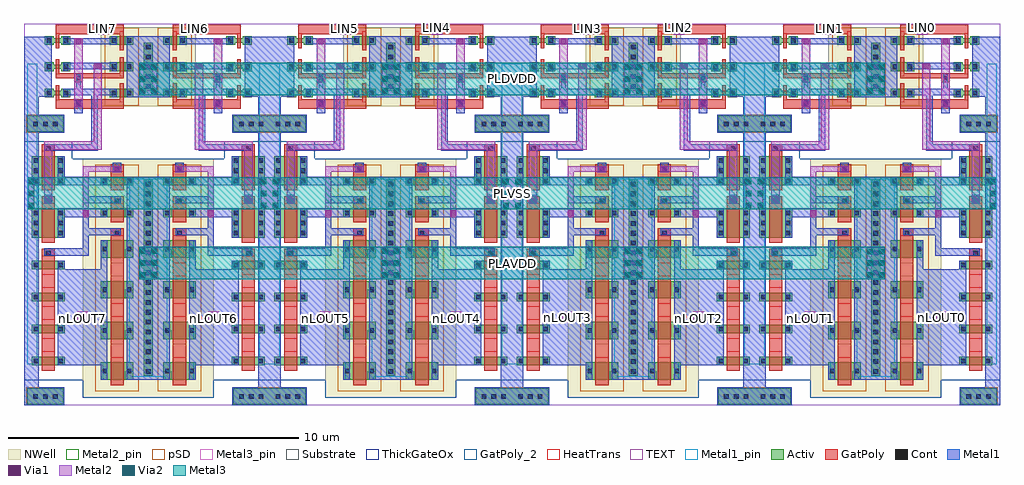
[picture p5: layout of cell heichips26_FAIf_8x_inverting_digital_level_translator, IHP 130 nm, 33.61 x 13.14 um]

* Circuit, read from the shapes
.subckt heichips26_FAIf_8x_inverting_digital_level_translator LIN0 LIN1 LIN2 LIN3 LIN4 LIN5 LIN6 LIN7 PLAVDD PLDVDD PLVSS nLOUT0 nLOUT1 nLOUT2 nLOUT3 nLOUT4 nLOUT5 nLOUT6 nLOUT7
XM1 nLOUT7 n1 PLVSS PLVSS sg13_hv_nmos w=0.3u l=0.45u m=4
XM2 n1 n2 PLVSS PLVSS sg13_hv_nmos w=1u l=0.45u
XM3 n3 n4 PLVSS PLVSS sg13_hv_nmos w=1u l=0.45u
XM4 n4 n5 PLVSS PLVSS sg13_lv_nmos w=0.15u l=0.13u
XM5 n2 n4 PLVSS PLVSS sg13_lv_nmos w=0.15u l=0.13u
XM6 n5 LIN7 PLVSS PLVSS sg13_lv_nmos w=0.15u l=0.13u
XM7 PLVSS n6 n7 PLVSS sg13_lv_nmos w=0.15u l=0.13u
XM8 PLVSS n7 n8 PLVSS sg13_lv_nmos w=0.15u l=0.13u
XM9 PLVSS LIN6 n6 PLVSS sg13_lv_nmos w=0.15u l=0.13u
XM10 PLVSS n9 nLOUT6 PLVSS sg13_hv_nmos w=0.3u l=0.45u m=4
XM11 PLVSS n8 n9 PLVSS sg13_hv_nmos w=1u l=0.45u
XM12 PLVSS n7 n10 PLVSS sg13_hv_nmos w=1u l=0.45u
XM13 nLOUT5 n11 PLVSS PLVSS sg13_hv_nmos w=0.3u l=0.45u m=4
XM14 n11 n12 PLVSS PLVSS sg13_hv_nmos w=1u l=0.45u
XM15 n13 n14 PLVSS PLVSS sg13_hv_nmos w=1u l=0.45u
XM16 n14 n15 PLVSS PLVSS sg13_lv_nmos w=0.15u l=0.13u
XM17 n12 n14 PLVSS PLVSS sg13_lv_nmos w=0.15u l=0.13u
XM18 n15 LIN5 PLVSS PLVSS sg13_lv_nmos w=0.15u l=0.13u
XM19 PLVSS n16 n17 PLVSS sg13_lv_nmos w=0.15u l=0.13u
XM20 PLVSS n17 n18 PLVSS sg13_lv_nmos w=0.15u l=0.13u
XM21 PLVSS LIN4 n16 PLVSS sg13_lv_nmos w=0.15u l=0.13u
XM22 PLVSS n19 nLOUT4 PLVSS sg13_hv_nmos w=0.3u l=0.45u m=4
XM23 PLVSS n18 n19 PLVSS sg13_hv_nmos w=1u l=0.45u
XM24 PLVSS n17 n20 PLVSS sg13_hv_nmos w=1u l=0.45u
XM25 nLOUT3 n21 PLVSS PLVSS sg13_hv_nmos w=0.3u l=0.45u m=4
XM26 n21 n22 PLVSS PLVSS sg13_hv_nmos w=1u l=0.45u
XM27 n23 n24 PLVSS PLVSS sg13_hv_nmos w=1u l=0.45u
XM28 n24 n25 PLVSS PLVSS sg13_lv_nmos w=0.15u l=0.13u
XM29 n22 n24 PLVSS PLVSS sg13_lv_nmos w=0.15u l=0.13u
XM30 n25 LIN3 PLVSS PLVSS sg13_lv_nmos w=0.15u l=0.13u
XM31 PLVSS n26 n27 PLVSS sg13_lv_nmos w=0.15u l=0.13u
XM32 PLVSS n27 n28 PLVSS sg13_lv_nmos w=0.15u l=0.13u
XM33 PLVSS LIN2 n26 PLVSS sg13_lv_nmos w=0.15u l=0.13u
XM34 PLVSS n29 nLOUT2 PLVSS sg13_hv_nmos w=0.3u l=0.45u m=4
XM35 PLVSS n28 n29 PLVSS sg13_hv_nmos w=1u l=0.45u
XM36 PLVSS n27 n30 PLVSS sg13_hv_nmos w=1u l=0.45u
XM37 nLOUT1 n31 PLVSS PLVSS sg13_hv_nmos w=0.3u l=0.45u m=4
XM38 n31 n32 PLVSS PLVSS sg13_hv_nmos w=1u l=0.45u
XM39 n33 n34 PLVSS PLVSS sg13_hv_nmos w=1u l=0.45u
XM40 n34 n35 PLVSS PLVSS sg13_lv_nmos w=0.15u l=0.13u
XM41 n32 n34 PLVSS PLVSS sg13_lv_nmos w=0.15u l=0.13u
XM42 n35 LIN1 PLVSS PLVSS sg13_lv_nmos w=0.15u l=0.13u
XM43 PLVSS n36 n37 PLVSS sg13_lv_nmos w=0.15u l=0.13u
XM44 PLVSS n37 n38 PLVSS sg13_lv_nmos w=0.15u l=0.13u
XM45 PLVSS LIN0 n36 PLVSS sg13_lv_nmos w=0.15u l=0.13u
XM46 PLVSS n39 nLOUT0 PLVSS sg13_hv_nmos w=0.3u l=0.45u m=4
XM47 PLVSS n38 n39 PLVSS sg13_hv_nmos w=1u l=0.45u
XM48 PLVSS n37 n40 PLVSS sg13_hv_nmos w=1u l=0.45u
XM49 PLAVDD n1 nLOUT7 PLAVDD sg13_hv_pmos w=0.6u l=0.45u m=4
XM50 PLAVDD n3 n1 PLAVDD sg13_hv_pmos w=0.3u l=0.45u
XM51 PLAVDD n1 n3 PLAVDD sg13_hv_pmos w=0.3u l=0.45u
XM52 PLDVDD n5 n4 PLDVDD sg13_lv_pmos w=0.3u l=0.13u
XM53 PLDVDD n4 n2 PLDVDD sg13_lv_pmos w=0.3u l=0.13u
XM54 PLDVDD LIN7 n5 PLDVDD sg13_lv_pmos w=0.3u l=0.13u
XM55 nLOUT6 n9 PLAVDD PLAVDD sg13_hv_pmos w=0.6u l=0.45u m=4
XM56 n9 n10 PLAVDD PLAVDD sg13_hv_pmos w=0.3u l=0.45u
XM57 n10 n9 PLAVDD PLAVDD sg13_hv_pmos w=0.3u l=0.45u
XM58 n7 n6 PLDVDD PLDVDD sg13_lv_pmos w=0.3u l=0.13u
XM59 n8 n7 PLDVDD PLDVDD sg13_lv_pmos w=0.3u l=0.13u
XM60 n6 LIN6 PLDVDD PLDVDD sg13_lv_pmos w=0.3u l=0.13u
XM61 PLAVDD n11 nLOUT5 PLAVDD sg13_hv_pmos w=0.6u l=0.45u m=4
XM62 PLAVDD n13 n11 PLAVDD sg13_hv_pmos w=0.3u l=0.45u
XM63 PLAVDD n11 n13 PLAVDD sg13_hv_pmos w=0.3u l=0.45u
XM64 PLDVDD n15 n14 PLDVDD sg13_lv_pmos w=0.3u l=0.13u
XM65 PLDVDD n14 n12 PLDVDD sg13_lv_pmos w=0.3u l=0.13u
XM66 PLDVDD LIN5 n15 PLDVDD sg13_lv_pmos w=0.3u l=0.13u
XM67 nLOUT4 n19 PLAVDD PLAVDD sg13_hv_pmos w=0.6u l=0.45u m=4
XM68 n19 n20 PLAVDD PLAVDD sg13_hv_pmos w=0.3u l=0.45u
XM69 n20 n19 PLAVDD PLAVDD sg13_hv_pmos w=0.3u l=0.45u
XM70 n17 n16 PLDVDD PLDVDD sg13_lv_pmos w=0.3u l=0.13u
XM71 n18 n17 PLDVDD PLDVDD sg13_lv_pmos w=0.3u l=0.13u
XM72 n16 LIN4 PLDVDD PLDVDD sg13_lv_pmos w=0.3u l=0.13u
XM73 PLAVDD n21 nLOUT3 PLAVDD sg13_hv_pmos w=0.6u l=0.45u m=4
XM74 PLAVDD n23 n21 PLAVDD sg13_hv_pmos w=0.3u l=0.45u
XM75 PLAVDD n21 n23 PLAVDD sg13_hv_pmos w=0.3u l=0.45u
XM76 PLDVDD n25 n24 PLDVDD sg13_lv_pmos w=0.3u l=0.13u
XM77 PLDVDD n24 n22 PLDVDD sg13_lv_pmos w=0.3u l=0.13u
XM78 PLDVDD LIN3 n25 PLDVDD sg13_lv_pmos w=0.3u l=0.13u
XM79 nLOUT2 n29 PLAVDD PLAVDD sg13_hv_pmos w=0.6u l=0.45u m=4
XM80 n29 n30 PLAVDD PLAVDD sg13_hv_pmos w=0.3u l=0.45u
XM81 n30 n29 PLAVDD PLAVDD sg13_hv_pmos w=0.3u l=0.45u
XM82 n27 n26 PLDVDD PLDVDD sg13_lv_pmos w=0.3u l=0.13u
XM83 n28 n27 PLDVDD PLDVDD sg13_lv_pmos w=0.3u l=0.13u
XM84 n26 LIN2 PLDVDD PLDVDD sg13_lv_pmos w=0.3u l=0.13u
XM85 PLAVDD n31 nLOUT1 PLAVDD sg13_hv_pmos w=0.6u l=0.45u m=4
XM86 PLAVDD n33 n31 PLAVDD sg13_hv_pmos w=0.3u l=0.45u
XM87 PLAVDD n31 n33 PLAVDD sg13_hv_pmos w=0.3u l=0.45u
XM88 PLDVDD n35 n34 PLDVDD sg13_lv_pmos w=0.3u l=0.13u
XM89 PLDVDD n34 n32 PLDVDD sg13_lv_pmos w=0.3u l=0.13u
XM90 PLDVDD LIN1 n35 PLDVDD sg13_lv_pmos w=0.3u l=0.13u
XM91 nLOUT0 n39 PLAVDD PLAVDD sg13_hv_pmos w=0.6u l=0.45u m=4
XM92 n39 n40 PLAVDD PLAVDD sg13_hv_pmos w=0.3u l=0.45u
XM93 n40 n39 PLAVDD PLAVDD sg13_hv_pmos w=0.3u l=0.45u
XM94 n37 n36 PLDVDD PLDVDD sg13_lv_pmos w=0.3u l=0.13u
XM95 n38 n37 PLDVDD PLDVDD sg13_lv_pmos w=0.3u l=0.13u
XM96 n36 LIN0 PLDVDD PLDVDD sg13_lv_pmos w=0.3u l=0.13u
.ends

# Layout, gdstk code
from math import pi, radians
import gdstk
lib = gdstk.Library(unit=1e-6, precision=1e-09)
def R(c, l, rs):  # rectangles x0, y0, x1, y1
    for r in rs: c.add(gdstk.rectangle(r[:2], r[2:], *l))
def A(c, l, x, y, w, h, nx, ny, dx, dy):  # array of equal rectangles
    R(c, l, [(x+i*dx, y+j*dy, x+i*dx+w, y+j*dy+h) for i in range(nx) for j in range(ny)])
Activ = (1, 0)
GatPoly = (5, 0)
GatPoly_2 = (5, 2)
Cont = (6, 0)
Metal1 = (8, 0)
Metal1_pin = (8, 2)
Metal2 = (10, 0)
Metal2_pin = (10, 2)
pSD = (14, 0)
Via1 = (19, 0)
Via2 = (29, 0)
Metal3 = (30, 0)
Metal3_pin = (30, 2)
NWell = (31, 0)
Substrate = (40, 0)
ThickGateOx = (44, 0)
HeatTrans = (51, 0)
TEXT = (63, 0)

heichips26_faif_lt8_via_ = lib.new_cell('heichips26_FAIf_lt8_via_stack_6')
R(heichips26_faif_lt8_via_, Activ, [(-0.83,-0.15,0.83,0.15)])
A(heichips26_faif_lt8_via_, Cont, -0.76, -0.08, 0.16, 0.16, 5, 1, 0.34, 0)
R(heichips26_faif_lt8_via_, Metal1, [(-0.81,-0.08,0.81,0.08)])

heichips26_faif_lt8_pmos = lib.new_cell('heichips26_FAIf_lt8_pmos_1')
R(heichips26_faif_lt8_pmos, Activ, [(0,0,0.3,0.3), (0,0,0.81,0.3), (0.51,0,0.81,0.3)])
R(heichips26_faif_lt8_pmos, GatPoly, [(0.34,-0.18,0.47,0.48), (0.34,-0.18,0.47,0.48)])
R(heichips26_faif_lt8_pmos, Cont, [(0.07,0.07,0.23,0.23), (0.58,0.07,0.74,0.23)])
R(heichips26_faif_lt8_pmos, Metal1, [(0.07,0,0.23,0.3), (0.07,0,0.23,0.3), (0.58,0,0.74,0.3), (0.58,0,0.74,0.3)])
R(heichips26_faif_lt8_pmos, pSD, [(-0.18,-0.3,0.99,0.6)])
R(heichips26_faif_lt8_pmos, NWell, [(-0.31,-0.31,1.12,0.61)])
R(heichips26_faif_lt8_pmos, Substrate, [(0.51,0,0.81,0.3)])
R(heichips26_faif_lt8_pmos, HeatTrans, [(0.34,-0.18,0.47,0.48)])
heichips26_faif_lt8_pmos.add(gdstk.Label('pmos', (0.405,0.15), layer=63, texttype=0))
heichips26_faif_lt8_pmos.add(gdstk.Label('pmos', (0.405,0.15), layer=51, texttype=0))

heichips26_faif_lt8_nmos = lib.new_cell('heichips26_FAIf_lt8_nmos')
R(heichips26_faif_lt8_nmos, Activ, [(0,0,0.3,0.3), (0.57,0,0.87,0.3), (0,0.075,0.87,0.225)])
R(heichips26_faif_lt8_nmos, GatPoly, [(0.37,-0.105,0.5,0.405)])
R(heichips26_faif_lt8_nmos, GatPoly_2, [(0.37,-0.105,0.5,0.405)])
R(heichips26_faif_lt8_nmos, Cont, [(0.07,0.07,0.23,0.23), (0.64,0.07,0.8,0.23)])
R(heichips26_faif_lt8_nmos, Metal1, [(0.07,0.02,0.23,0.28), (0.64,0.02,0.8,0.28)])
R(heichips26_faif_lt8_nmos, Metal1_pin, [(0.07,0.02,0.23,0.28), (0.64,0.02,0.8,0.28)])
R(heichips26_faif_lt8_nmos, HeatTrans, [(0.37,-0.105,0.5,0.405)])
heichips26_faif_lt8_nmos.add(gdstk.Label('nmos', (0.435,0.15), layer=63, texttype=0))
heichips26_faif_lt8_nmos.add(gdstk.Label('nmos', (0.435,0.15), layer=51, texttype=0))

c_heichips26_faif_lt8_via_ = lib.new_cell('heichips26_FAIf_lt8_via_stack_4')
R(c_heichips26_faif_lt8_via_, GatPoly, [(-0.15,-0.15,0.15,0.15)])
R(c_heichips26_faif_lt8_via_, Cont, [(-0.08,-0.08,0.08,0.08)])
R(c_heichips26_faif_lt8_via_, Metal1, [(-0.13,-0.08,0.13,0.08)])

c_heichips26_faif_lt8_via__ = lib.new_cell('heichips26_FAIf_lt8_via_stack_1')
R(c_heichips26_faif_lt8_via__, Metal1, [(-0.145,-0.105,0.145,0.105)])
R(c_heichips26_faif_lt8_via__, Metal2, [(-0.145,-0.1,0.145,0.1)])
R(c_heichips26_faif_lt8_via__, Via1, [(-0.095,-0.095,0.095,0.095)])

c_heichips26_faif_lt8_nmos = lib.new_cell('heichips26_FAIf_lt8_nmosHV')
R(c_heichips26_faif_lt8_nmos, Activ, [(0,0,0.3,0.3), (0,0,1.13,0.3), (0.83,0,1.13,0.3)])
R(c_heichips26_faif_lt8_nmos, GatPoly, [(0.34,-0.18,0.79,0.48)])
R(c_heichips26_faif_lt8_nmos, GatPoly_2, [(0.34,-0.18,0.79,0.48)])
R(c_heichips26_faif_lt8_nmos, Cont, [(0.07,0.07,0.23,0.23), (0.9,0.07,1.06,0.23)])
R(c_heichips26_faif_lt8_nmos, Metal1, [(0.07,0,0.23,0.3), (0.9,0,1.06,0.3)])
R(c_heichips26_faif_lt8_nmos, Metal1_pin, [(0.07,0,0.23,0.3), (0.9,0,1.06,0.3)])
R(c_heichips26_faif_lt8_nmos, ThickGateOx, [(-0.27,-0.52,1.4,0.82)])
R(c_heichips26_faif_lt8_nmos, HeatTrans, [(0.34,-0.18,0.79,0.48)])
c_heichips26_faif_lt8_nmos.add(gdstk.Label('nmosHV', (0.565,0.15), layer=63, texttype=0))
c_heichips26_faif_lt8_nmos.add(gdstk.Label('nmosHV', (0.565,0.15), layer=51, texttype=0))

c_heichips26_faif_lt8_pmos = lib.new_cell('heichips26_FAIf_lt8_pmosHV')
R(c_heichips26_faif_lt8_pmos, Activ, [(0,0,0.3,0.3), (0,0,1.13,0.6), (0.83,0,1.13,0.3)])
R(c_heichips26_faif_lt8_pmos, GatPoly, [(0.34,-0.18,0.79,0.78)])
R(c_heichips26_faif_lt8_pmos, GatPoly_2, [(0.34,-0.18,0.79,0.78)])
R(c_heichips26_faif_lt8_pmos, Cont, [(0.07,0.22,0.23,0.38), (0.9,0.22,1.06,0.38)])
R(c_heichips26_faif_lt8_pmos, Metal1, [(0.07,0,0.23,0.6), (0.9,0,1.06,0.6)])
R(c_heichips26_faif_lt8_pmos, Metal1_pin, [(0.07,0,0.23,0.6), (0.9,0,1.06,0.6)])
R(c_heichips26_faif_lt8_pmos, pSD, [(-0.18,-0.4,1.31,1)])
R(c_heichips26_faif_lt8_pmos, NWell, [(-0.62,-0.62,1.75,1.22)])
R(c_heichips26_faif_lt8_pmos, Substrate, [(0.83,0,1.13,0.3)])
R(c_heichips26_faif_lt8_pmos, ThickGateOx, [(-0.62,-0.62,1.75,1.22)])
R(c_heichips26_faif_lt8_pmos, HeatTrans, [(0.34,-0.18,0.79,0.78)])
c_heichips26_faif_lt8_pmos.add(gdstk.Label('pmosHV', (0.565,0.3), layer=63, texttype=0))
c_heichips26_faif_lt8_pmos.add(gdstk.Label('pmos', (0.565,0.3), layer=51, texttype=0))

c_heichips26_faif_lt8_via___ = lib.new_cell('heichips26_FAIf_lt8_via_stack_3')
R(c_heichips26_faif_lt8_via___, GatPoly, [(-0.15,-0.15,0.15,0.15)])
R(c_heichips26_faif_lt8_via___, Cont, [(-0.08,-0.08,0.08,0.08)])
R(c_heichips26_faif_lt8_via___, Metal1, [(-0.145,-0.105,0.145,0.105)])
R(c_heichips26_faif_lt8_via___, Metal2, [(-0.145,-0.1,0.145,0.1)])
R(c_heichips26_faif_lt8_via___, Via1, [(-0.095,-0.095,0.095,0.095)])

c_heichips26_faif_lt8_pmos_ = lib.new_cell('heichips26_FAIf_lt8_pmosHV_1')
R(c_heichips26_faif_lt8_pmos_, Activ, [(0,0,0.3,0.3), (0,0,1.13,0.3), (0.83,0,1.13,0.3)])
R(c_heichips26_faif_lt8_pmos_, GatPoly, [(0.34,-0.18,0.79,0.48)])
R(c_heichips26_faif_lt8_pmos_, GatPoly_2, [(0.34,-0.18,0.79,0.48)])
R(c_heichips26_faif_lt8_pmos_, Cont, [(0.07,0.07,0.23,0.23), (0.9,0.07,1.06,0.23)])
R(c_heichips26_faif_lt8_pmos_, Metal1, [(0.07,0,0.23,0.3), (0.9,0,1.06,0.3)])
R(c_heichips26_faif_lt8_pmos_, Metal1_pin, [(0.07,0,0.23,0.3), (0.9,0,1.06,0.3)])
R(c_heichips26_faif_lt8_pmos_, pSD, [(-0.18,-0.4,1.31,0.7)])
R(c_heichips26_faif_lt8_pmos_, NWell, [(-0.62,-0.62,1.75,0.92)])
R(c_heichips26_faif_lt8_pmos_, Substrate, [(0.83,0,1.13,0.3)])
R(c_heichips26_faif_lt8_pmos_, ThickGateOx, [(-0.62,-0.62,1.75,0.92)])
R(c_heichips26_faif_lt8_pmos_, HeatTrans, [(0.34,-0.18,0.79,0.48)])
c_heichips26_faif_lt8_pmos_.add(gdstk.Label('pmosHV', (0.565,0.15), layer=63, texttype=0))
c_heichips26_faif_lt8_pmos_.add(gdstk.Label('pmos', (0.565,0.15), layer=51, texttype=0))

c_heichips26_faif_lt8_nmos_ = lib.new_cell('heichips26_FAIf_lt8_nmosHV_1')
R(c_heichips26_faif_lt8_nmos_, Activ, [(0,0,0.3,0.3), (0,0,1.13,1), (0.83,0,1.13,0.3)])
R(c_heichips26_faif_lt8_nmos_, GatPoly, [(0.34,-0.18,0.79,1.18)])
R(c_heichips26_faif_lt8_nmos_, GatPoly_2, [(0.34,-0.18,0.79,1.18)])
A(c_heichips26_faif_lt8_nmos_, Cont, 0.07, 0.07, 0.16, 0.16, 1, 3, 0, 0.35)
A(c_heichips26_faif_lt8_nmos_, Cont, 0.9, 0.07, 0.16, 0.16, 1, 3, 0, 0.35)
R(c_heichips26_faif_lt8_nmos_, Metal1, [(0.07,0,0.23,1), (0.9,0,1.06,1)])
R(c_heichips26_faif_lt8_nmos_, Metal1_pin, [(0.07,0,0.23,1), (0.9,0,1.06,1)])
R(c_heichips26_faif_lt8_nmos_, ThickGateOx, [(-0.27,-0.52,1.4,1.52)])
R(c_heichips26_faif_lt8_nmos_, HeatTrans, [(0.34,-0.18,0.79,1.18)])
c_heichips26_faif_lt8_nmos_.add(gdstk.Label('nmosHV', (0.565,0.5), layer=63, texttype=0))
c_heichips26_faif_lt8_nmos_.add(gdstk.Label('nmosHV', (0.565,0.5), layer=51, texttype=0))

c_heichips26_faif_lt8_via____ = lib.new_cell('heichips26_FAIf_lt8_via_stack')
R(c_heichips26_faif_lt8_via____, Activ, [(-0.49,-0.15,0.49,0.15)])
A(c_heichips26_faif_lt8_via____, Cont, -0.42, -0.08, 0.16, 0.16, 3, 1, 0.34, 0)
R(c_heichips26_faif_lt8_via____, Metal1, [(-0.47,-0.08,0.47,0.08)])

c_heichips26_faif_lt8_via_____ = lib.new_cell('heichips26_FAIf_lt8_via_stack_5')
R(c_heichips26_faif_lt8_via_____, Activ, [(-3.38,-0.15,3.38,0.15)])
A(c_heichips26_faif_lt8_via_____, Cont, -3.31, -0.08, 0.16, 0.16, 20, 1, 0.34, 0)
R(c_heichips26_faif_lt8_via_____, Metal1, [(-3.36,-0.08,3.36,0.08)])

heichips26_faif_lt8_inve = lib.new_cell('heichips26_FAIf_lt8_inverting_digital_level_translator')
R(heichips26_faif_lt8_inve, Activ, [(4.03,0.825,4.59,2.065), (13.415,0.825,13.975,2.065)])
A(heichips26_faif_lt8_inve, GatPoly, 5.01, 1.32, 0.235, 0.45, 3, 1, 1.8, 0)
A(heichips26_faif_lt8_inve, GatPoly, 9.505, 1.32, 0.44, 0.45, 3, 1, 1.1, 0)
A(heichips26_faif_lt8_inve, GatPoly, 5.71, 3.69, 0.235, 0.45, 3, 1, 1.1, 0)
A(heichips26_faif_lt8_inve, GatPoly, 9.105, 3.69, 0.44, 0.45, 3, 1, 1.4, 0)
R(heichips26_faif_lt8_inve, GatPoly, [(0.9,1.8,1.225,4.14), (2.565,1.8,2.735,4.14), (3.465,1.8,3.635,4.14), (3.635,1.8,3.785,2.435), (3.635,2.735,3.785,4.14)])
A(heichips26_faif_lt8_inve, Metal1, 9.025, 1.88, 1.4, 0.23, 3, 1, 1.1, 0)
R(heichips26_faif_lt8_inve, Metal1, [(1.315,0.71,14.005,1.21), (1.315,0.79,3.375,1.66), (4,1.21,4.62,2.095), (13.385,1.21,14.005,2.095), (6.75,1.4,7.07,1.69), (5.015,1.415,5.245,3.025), (8.6,1.415,8.845,2.73), (5.425,1.88,6.425,2.11), (7.225,1.88,8.225,2.11), (6.125,2.04,6.425,3.42), (7.225,2.04,7.525,3.42), (1.365,2.07,1.575,3.9), (2.215,2.07,2.425,3.9), (3.095,2.07,3.325,3.9), (9.325,2.11,12.625,3.35), (3.505,2.435,3.945,2.735), (2.865,2.505,3.095,2.665), (6.425,2.73,6.805,2.945), (6.805,2.73,7.045,4.045), (7.525,2.73,7.905,2.945), (7.905,2.73,8.145,4.045), (7.905,2.73,8.845,2.945), (3.325,3.025,5.245,3.255), (0.895,3.24,1.185,3.57), (8.325,3.35,10.325,3.58), (10.325,3.35,13.125,3.58), (5.65,3.77,5.97,4.06), (1.295,4.25,3.395,5.14), (6.125,4.25,13.125,5.14)])
R(heichips26_faif_lt8_inve, Metal1_pin, [(2.24,0.815,12.59,1.17), (1.295,4.25,3.395,5.14), (6.195,4.33,13.025,5.06)])
R(heichips26_faif_lt8_inve, Metal2, [(10.785,2.54,11.165,2.92), (0.86,3.215,1.24,3.595)])
R(heichips26_faif_lt8_inve, Metal2_pin, [(10.83,2.6,11.125,2.865), (0.935,3.3,1.165,3.51)])
R(heichips26_faif_lt8_inve, pSD, [(4,0.795,4.62,2.095), (13.385,0.795,14.005,2.095)])
R(heichips26_faif_lt8_inve, NWell, [(0.985,4.79,3.705,5.45), (1.885,4.79,3.705,5.45), (5.505,5.1,13.745,5.76)])
R(heichips26_faif_lt8_inve, ThickGateOx, [(5.505,2.38,10.945,2.73), (10.945,2.38,13.145,2.73), (5.505,5.1,13.745,5.76)])
R(heichips26_faif_lt8_inve, TEXT, [(0.86,0.71,14.005,5.76)])
heichips26_faif_lt8_inve.add(gdstk.FlexPath([(1.57,2.585),(3.535,2.585),(3.535,2.585)], 0.29, ends="flush", simple_path=True, layer=10, datatype=0))  # Metal2
heichips26_faif_lt8_inve.add(gdstk.FlexPath([(7.23,2.835),(5.865,2.835),(5.865,3.77)], 0.2, ends="flush", simple_path=True, layer=10, datatype=0))  # Metal2
heichips26_faif_lt8_inve.add(gdstk.FlexPath([(2.42,3.25),(5.06,3.25),(5.06,2.13)], 0.29, ends="flush", simple_path=True, layer=10, datatype=0))  # Metal2
heichips26_faif_lt8_inve.add(gdstk.FlexPath([(6.865,1.545),(5.06,1.545),(5.06,2.13)], 0.29, ends="flush", simple_path=True, layer=10, datatype=0))  # Metal2
heichips26_faif_lt8_inve.add(gdstk.Reference(heichips26_faif_lt8_via_, (2.345,4.99), rotation=pi))
heichips26_faif_lt8_inve.add(gdstk.Reference(heichips26_faif_lt8_pmos, (1.595,3.67), rotation=pi/2))
heichips26_faif_lt8_inve.add(gdstk.Reference(heichips26_faif_lt8_pmos, (2.495,3.67), rotation=pi/2))
heichips26_faif_lt8_inve.add(gdstk.Reference(heichips26_faif_lt8_pmos, (3.395,3.67), rotation=pi/2))
heichips26_faif_lt8_inve.add(gdstk.Reference(heichips26_faif_lt8_nmos, (1.595,1.43), rotation=pi/2))
heichips26_faif_lt8_inve.add(gdstk.Reference(heichips26_faif_lt8_nmos, (2.495,1.43), rotation=pi/2))
heichips26_faif_lt8_inve.add(gdstk.Reference(heichips26_faif_lt8_nmos, (3.395,1.43), rotation=pi/2))
heichips26_faif_lt8_inve.add(gdstk.Reference(c_heichips26_faif_lt8_via_, (5.165,1.545), rotation=pi/2))
heichips26_faif_lt8_inve.add(gdstk.Reference(c_heichips26_faif_lt8_via_, (8.065,3.915), rotation=pi/2))
heichips26_faif_lt8_inve.add(gdstk.Reference(c_heichips26_faif_lt8_via_, (6.965,3.915), rotation=pi/2))
heichips26_faif_lt8_inve.add(gdstk.Reference(c_heichips26_faif_lt8_via_, (8.765,1.545), rotation=pi/2))
heichips26_faif_lt8_inve.add(gdstk.Reference(c_heichips26_faif_lt8_via_, (2.735,2.585), rotation=pi))
heichips26_faif_lt8_inve.add(gdstk.Reference(c_heichips26_faif_lt8_via__, (2.32,3.25), rotation=pi/2))
heichips26_faif_lt8_inve.add(gdstk.Reference(c_heichips26_faif_lt8_via__, (1.47,2.585), rotation=pi/2))
heichips26_faif_lt8_inve.add(gdstk.Reference(c_heichips26_faif_lt8_via__, (7.375,2.835), rotation=pi))
heichips26_faif_lt8_inve.add(gdstk.Reference(c_heichips26_faif_lt8_via__, (10.975,2.73), rotation=pi))
heichips26_faif_lt8_inve.add(gdstk.Reference(c_heichips26_faif_lt8_nmos, (12.625,0.98), rotation=pi/2))
heichips26_faif_lt8_inve.add(gdstk.Reference(c_heichips26_faif_lt8_nmos, (11.525,0.98), rotation=pi/2))
heichips26_faif_lt8_inve.add(gdstk.Reference(c_heichips26_faif_lt8_nmos, (9.325,0.98), rotation=pi/2))
heichips26_faif_lt8_inve.add(gdstk.Reference(c_heichips26_faif_lt8_nmos, (10.425,0.98), rotation=pi/2))
heichips26_faif_lt8_inve.add(gdstk.Reference(c_heichips26_faif_lt8_pmos, (8.925,3.35), rotation=pi/2))
heichips26_faif_lt8_inve.add(gdstk.Reference(c_heichips26_faif_lt8_pmos, (10.325,3.35), rotation=pi/2))
heichips26_faif_lt8_inve.add(gdstk.Reference(c_heichips26_faif_lt8_pmos, (11.725,3.35), rotation=pi/2))
heichips26_faif_lt8_inve.add(gdstk.Reference(c_heichips26_faif_lt8_pmos, (13.125,3.35), rotation=pi/2))
heichips26_faif_lt8_inve.add(gdstk.Reference(c_heichips26_faif_lt8_via___, (1.04,3.405)))
heichips26_faif_lt8_inve.add(gdstk.Reference(c_heichips26_faif_lt8_via___, (3.635,2.585), rotation=pi/2))
heichips26_faif_lt8_inve.add(gdstk.Reference(c_heichips26_faif_lt8_via___, (6.965,1.545), rotation=pi/2))
heichips26_faif_lt8_inve.add(gdstk.Reference(c_heichips26_faif_lt8_via___, (5.865,3.915), rotation=pi/2))
heichips26_faif_lt8_inve.add(gdstk.Reference(c_heichips26_faif_lt8_pmos_, (7.525,3.35), rotation=pi/2))
heichips26_faif_lt8_inve.add(gdstk.Reference(c_heichips26_faif_lt8_pmos_, (6.425,3.35), rotation=pi/2))
heichips26_faif_lt8_inve.add(gdstk.Reference(c_heichips26_faif_lt8_nmos_, (8.225,0.98), rotation=pi/2))
heichips26_faif_lt8_inve.add(gdstk.Reference(c_heichips26_faif_lt8_nmos_, (6.425,0.98), rotation=pi/2))
heichips26_faif_lt8_inve.add(gdstk.Reference(c_heichips26_faif_lt8_via____, (13.695,1.445), rotation=pi/2))
heichips26_faif_lt8_inve.add(gdstk.Reference(c_heichips26_faif_lt8_via____, (4.31,1.445), rotation=pi/2))
heichips26_faif_lt8_inve.add(gdstk.Reference(c_heichips26_faif_lt8_via_____, (9.61,4.99), rotation=pi))
heichips26_faif_lt8_inve.add(gdstk.Label('PLAVDD', (9.29,4.695), layer=8, texttype=25))
heichips26_faif_lt8_inve.add(gdstk.Label('PLVSS', (7.2,0.98), layer=8, texttype=25))
heichips26_faif_lt8_inve.add(gdstk.Label('PLDVDD', (2.795,4.84), layer=8, texttype=25))
heichips26_faif_lt8_inve.add(gdstk.Label('LIN', (1.055,3.415), layer=10, texttype=25))
heichips26_faif_lt8_inve.add(gdstk.Label('NLOUT', (10.975,2.73), layer=10, texttype=25))

c_heichips26_faif_lt8_via______ = lib.new_cell('heichips26_FAIf_lt8_via_stack_9')
R(c_heichips26_faif_lt8_via______, Metal1, [(-0.31,-0.555,0.31,0.555)])
R(c_heichips26_faif_lt8_via______, Metal2, [(-0.305,-0.555,0.305,0.555)])
A(c_heichips26_faif_lt8_via______, Via1, -0.3, -0.505, 0.19, 0.19, 1, 3, 0, 0.41)
A(c_heichips26_faif_lt8_via______, Via1, 0.11, -0.505, 0.19, 0.19, 1, 3, 0, 0.41)
A(c_heichips26_faif_lt8_via______, Via2, -0.3, -0.505, 0.19, 0.19, 1, 3, 0, 0.41)
A(c_heichips26_faif_lt8_via______, Via2, 0.11, -0.505, 0.19, 0.19, 1, 3, 0, 0.41)
R(c_heichips26_faif_lt8_via______, Metal3, [(-0.305,-0.555,0.305,0.555)])

c_heichips26_faif_lt8_via_______ = lib.new_cell('heichips26_FAIf_lt8_via_stack_7')
R(c_heichips26_faif_lt8_via_______, Metal1, [(-0.105,-0.555,0.105,0.555)])
R(c_heichips26_faif_lt8_via_______, Metal2, [(-0.1,-0.555,0.1,0.555)])
A(c_heichips26_faif_lt8_via_______, Via1, -0.095, -0.505, 0.19, 0.19, 1, 3, 0, 0.41)
A(c_heichips26_faif_lt8_via_______, Via2, -0.095, -0.505, 0.19, 0.19, 1, 3, 0, 0.41)
R(c_heichips26_faif_lt8_via_______, Metal3, [(-0.1,-0.555,0.1,0.555)])

heichips26_faif_8x_inver = lib.new_cell('heichips26_FAIf_8x_inverting_digital_level_translator')
A(heichips26_faif_8x_inver, Activ, 8.445, 0.03, 0.02, 0.56, 3, 2, 8.35, 9.385)
R(heichips26_faif_8x_inver, Metal3, [(3.975,4.34,29.635,5.455), (0.145,6.745,33.465,7.855), (3.975,10.685,29.635,11.795)])
R(heichips26_faif_8x_inver, Metal3_pin, [(3.975,4.34,29.635,5.45), (0.145,6.745,33.465,7.855), (3.975,10.685,29.635,11.795)])
heichips26_faif_8x_inver.add(gdstk.Reference(heichips26_faif_lt8_inve, (7.64,14.005), rotation=3*pi/2))
heichips26_faif_8x_inver.add(gdstk.Reference(heichips26_faif_lt8_inve, (15.99,14.005), rotation=3*pi/2))
heichips26_faif_8x_inver.add(gdstk.Reference(heichips26_faif_lt8_inve, (24.34,14.005), rotation=3*pi/2))
heichips26_faif_8x_inver.add(gdstk.Reference(heichips26_faif_lt8_inve, (-0.71,14.005), rotation=3*pi/2))
heichips26_faif_8x_inver.add(gdstk.Reference(heichips26_faif_lt8_inve, (9.27,14.005), rotation=3*pi/2, x_reflection=True))
heichips26_faif_8x_inver.add(gdstk.Reference(heichips26_faif_lt8_inve, (17.62,14.005), rotation=3*pi/2, x_reflection=True))
heichips26_faif_8x_inver.add(gdstk.Reference(heichips26_faif_lt8_inve, (25.97,14.005), rotation=3*pi/2, x_reflection=True))
heichips26_faif_8x_inver.add(gdstk.Reference(heichips26_faif_lt8_inve, (34.32,14.005), rotation=3*pi/2, x_reflection=True))
heichips26_faif_8x_inver.add(gdstk.Reference(c_heichips26_faif_lt8_via______, (29.33,11.24)))
heichips26_faif_8x_inver.add(gdstk.Reference(c_heichips26_faif_lt8_via______, (4.28,11.24)))
heichips26_faif_8x_inver.add(gdstk.Reference(c_heichips26_faif_lt8_via______, (12.63,11.24)))
heichips26_faif_8x_inver.add(gdstk.Reference(c_heichips26_faif_lt8_via______, (4.28,4.9)))
heichips26_faif_8x_inver.add(gdstk.Reference(c_heichips26_faif_lt8_via______, (12.63,4.9)))
heichips26_faif_8x_inver.add(gdstk.Reference(c_heichips26_faif_lt8_via______, (20.98,4.9)))
heichips26_faif_8x_inver.add(gdstk.Reference(c_heichips26_faif_lt8_via______, (29.33,4.895)))
heichips26_faif_8x_inver.add(gdstk.Reference(c_heichips26_faif_lt8_via______, (8.455,7.3)))
heichips26_faif_8x_inver.add(gdstk.Reference(c_heichips26_faif_lt8_via______, (16.805,7.3)))
heichips26_faif_8x_inver.add(gdstk.Reference(c_heichips26_faif_lt8_via______, (25.155,7.3)))
heichips26_faif_8x_inver.add(gdstk.Reference(c_heichips26_faif_lt8_via______, (20.98,11.24)))
heichips26_faif_8x_inver.add(gdstk.Reference(c_heichips26_faif_lt8_via_______, (33.365,7.3)))
heichips26_faif_8x_inver.add(gdstk.Reference(c_heichips26_faif_lt8_via_______, (0.245,7.3)))
heichips26_faif_8x_inver.add(gdstk.Label('LIN0', (30.92,12.995), layer=10, texttype=25))
heichips26_faif_8x_inver.add(gdstk.Label('LIN1', (27.745,12.99), layer=10, texttype=25))
heichips26_faif_8x_inver.add(gdstk.Label('LIN2', (22.555,12.995), layer=10, texttype=25))
heichips26_faif_8x_inver.add(gdstk.Label('LIN3', (19.395,12.985), layer=10, texttype=25))
heichips26_faif_8x_inver.add(gdstk.Label('LIN4', (14.215,12.995), layer=10, texttype=25))
heichips26_faif_8x_inver.add(gdstk.Label('LIN5', (11.045,12.98), layer=10, texttype=25))
heichips26_faif_8x_inver.add(gdstk.Label('LIN6', (5.86,12.98), layer=10, texttype=25))
heichips26_faif_8x_inver.add(gdstk.Label('LIN7', (2.695,12.975), layer=10, texttype=25))
heichips26_faif_8x_inver.add(gdstk.Label('nLOUT0', (31.59,3.015), layer=10, texttype=25))
heichips26_faif_8x_inver.add(gdstk.Label('nLOUT1', (27.07,3), layer=10, texttype=25))
heichips26_faif_8x_inver.add(gdstk.Label('nLOUT2', (23.24,3.005), layer=10, texttype=25))
heichips26_faif_8x_inver.add(gdstk.Label('nLOUT3', (18.72,3.01), layer=10, texttype=25))
heichips26_faif_8x_inver.add(gdstk.Label('nLOUT4', (14.89,2.99), layer=10, texttype=25))
heichips26_faif_8x_inver.add(gdstk.Label('nLOUT5', (10.37,3), layer=10, texttype=25))
heichips26_faif_8x_inver.add(gdstk.Label('nLOUT6', (6.54,3), layer=10, texttype=25))
heichips26_faif_8x_inver.add(gdstk.Label('nLOUT7', (2.02,2.995), layer=10, texttype=25))
heichips26_faif_8x_inver.add(gdstk.Label('PLDVDD', (16.805,11.24), layer=30, texttype=25))
heichips26_faif_8x_inver.add(gdstk.Label('PLAVDD', (16.805,4.895), layer=30, texttype=25))
heichips26_faif_8x_inver.add(gdstk.Label('PLVSS', (16.805,7.3), layer=30, texttype=25))

lib.write_gds('heichips26_FAIf_8x_inverting_digital_level_translator.gds')
